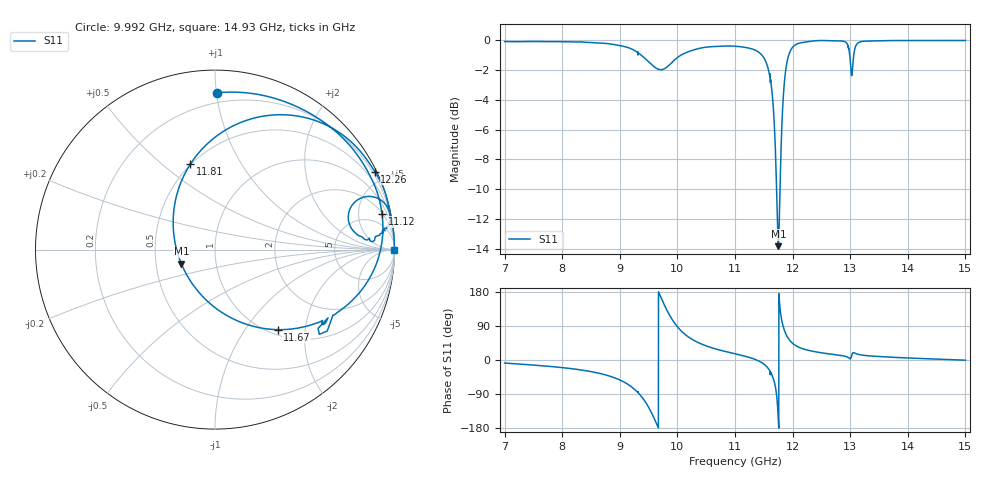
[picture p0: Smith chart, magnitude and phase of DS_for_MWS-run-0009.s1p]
! TOUCHSTONE file generated by CST DESIGN STUDIO
! Date and time: Mon Feb 10 16:54:09 2025
! Project name: C:\Work\MatlabApps\UnitCellType2OptimizationMatlab\CST\unitcell.cst
! Tree item: Tasks\Sweep1\SPara1\S-Parameters
! Header version: 2024
! Port assignment regex: !\s*Touchstone port\s*([0-9]+)\s*=\s*(CST MWS port|CST DES external port|CST DES block port)\s*(.+)\s* \(\"(.*)\"\)(\s*mode\s*([0-9]+))?.*
! Touchstone port assignment:
! Touchstone port 1 = CST DES external port 1 ("")
# GHz S MA R 50
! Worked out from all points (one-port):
!   4001 points, 7 GHz to 15 GHz, reference 50 ohm
!   lowest |S11| = -13.8 dB at 11.75 GHz (marker M1), VSWR 1.51, Z = 33.9 - j5.58 ohm
!   |S11| at or under -10 dB: 11.72 GHz to 11.78 GHz (59.93 MHz wide, 0.51 % of centre)
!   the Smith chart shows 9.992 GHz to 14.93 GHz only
!   S11 on the Smith chart (normalised r, x): 9.992 GHz: 0.14, +1.00; 11.12 GHz: 2.12, +8.95; 11.67 GHz: 1.09, -1.43; 11.81 GHz: 0.50, +0.63; 12.26 GHz: 0.09, +4.32; 14.93 GHz: open
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7  0.9916 -8.0
8  0.9904 -20.1
8.626  0.9813 -34.5
9  0.9613 -52.6
9.21  0.9355 -71.7
9.402  0.8827 -101.6
9.522  0.8404 -130.8
9.646  0.8039 -170.9
9.824  0.8158 129.5
9.992  0.8738 89.3
10  0.8763 87.8
10.376  0.9403 45.0
11  0.9567 16.4
11.118  0.9516 12.1
11.508  0.8697 -11.6
11.6  0.7669 -27.1
11.672  0.566 -52.0
11.752  0.2033 -157.1
11.81  0.4962 106.0
11.88  0.7938 69.7
12  0.9488 44.0
12.26  0.9905 26.1
12.896  0.9928 10.5
13  0.8617 4.3
13.086  0.9459 17.7
14  0.9995 5.4
14.928  0.9997 -0.0
15  1 -0.4
